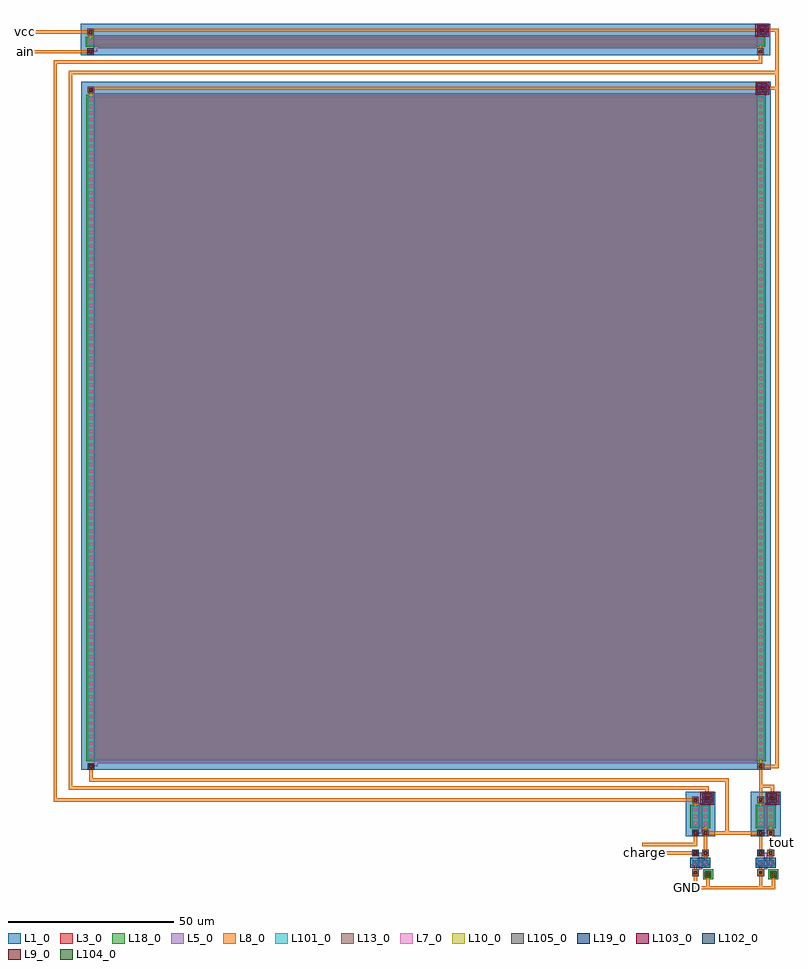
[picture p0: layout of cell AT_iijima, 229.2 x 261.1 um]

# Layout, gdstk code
import gdstk
lib = gdstk.Library(unit=1e-6, precision=1e-07)
def R(c, l, rs):  # rectangles x0, y0, x1, y1
    for r in rs: c.add(gdstk.rectangle(r[:2], r[2:], *l))
L1_0 = (1, 0)
L3_0 = (3, 0)
L5_0 = (5, 0)
L7_0 = (7, 0)
L8_0 = (8, 0)
L9_0 = (9, 0)
L10_0 = (10, 0)
L13_0 = (13, 0)
L18_0 = (18, 0)
L19_0 = (19, 0)
L101_0 = (101, 0)
L102_0 = (102, 0)
L103_0 = (103, 0)
L104_0 = (104, 0)
L105_0 = (105, 0)

dcont = lib.new_cell('dcont')
R(dcont, L3_0, [(-1,-1,1,1)])
R(dcont, L7_0, [(-0.5,-0.5,0.5,0.5)])
R(dcont, L8_0, [(-1,-1,1,1)])
R(dcont, L13_0, [(-0.5,-0.5,0.5,0.5)])
R(dcont, L101_0, [(-1,-1,1,1)])

pcont = lib.new_cell('pcont')
R(pcont, L5_0, [(-1,-1,1,1)])
R(pcont, L7_0, [(-0.5,-0.5,0.5,0.5)])
R(pcont, L8_0, [(-1,-1,1,1)])
R(pcont, L13_0, [(-0.5,-0.5,0.5,0.5)])
R(pcont, L102_0, [(-1,-1,1,1)])

via = lib.new_cell('Via')
R(via, L8_0, [(-1,-1,1,1)])
R(via, L9_0, [(-0.5,-0.5,0.5,0.5)])
R(via, L10_0, [(-1,-1,1,1)])
R(via, L13_0, [(-0.5,-0.5,0.5,0.5)])
R(via, L105_0, [(-1,-1,1,1)])

dcont1 = lib.new_cell('dcont1')
R(dcont1, L3_0, [(-1,-1,1,1)])
R(dcont1, L7_0, [(-0.5,-0.5,0.5,0.5)])
R(dcont1, L8_0, [(-1,-1,1,1)])
R(dcont1, L13_0, [(-0.5,-0.5,0.5,0.5)])
R(dcont1, L101_0, [(-1,-1,1,1)])

nsubcont = lib.new_cell('nsubcont')
R(nsubcont, L1_0, [(-2,-2,2,2)])
R(nsubcont, L19_0, [(-1.5,-1.5,1.5,1.5)])
R(nsubcont, L103_0, [(-2,-2,2,2)])
nsubcont.add(gdstk.Reference(dcont1, (0,0)))

pch = lib.new_cell('Pch')
R(pch, L1_0, [(-2,0,7,13.5)])
R(pch, L3_0, [(0,3,5,9)])
R(pch, L18_0, [(-0.5,2.5,5.5,9.5)])
pch.add(gdstk.FlexPath([(1,3),(1,9)], 2, ends="flush", simple_path=True, layer=8, datatype=0))  # L8_0
pch.add(gdstk.FlexPath([(4,3),(4,9)], 2, ends="flush", simple_path=True, layer=8, datatype=0))  # L8_0
pch.add(gdstk.FlexPath([(1,8),(1,11)], 1, ends="flush", simple_path=True, layer=8, datatype=0))  # L8_0
pch.add(gdstk.FlexPath([(4,1),(4,4)], 1, ends="flush", simple_path=True, layer=8, datatype=0))  # L8_0
pch.add(gdstk.FlexPath([(2.5,3),(2.5,9)], 1, ends=(1, 1), simple_path=True, layer=5, datatype=0))  # L5_0
pch.add(gdstk.FlexPath([(1,1.5),(2.5,1.5),(2.5,2)], 1, ends="flush", simple_path=True, layer=5, datatype=0))  # L5_0
pch.add(gdstk.Reference(dcont, (1,4)))
pch.add(gdstk.Reference(dcont, (1,6)))
pch.add(gdstk.Reference(dcont, (1,8)))
pch.add(gdstk.Reference(dcont, (4,4)))
pch.add(gdstk.Reference(dcont, (4,6)))
pch.add(gdstk.Reference(dcont, (4,8)))
pch.add(gdstk.Reference(pcont, (1,1)))
pch.add(gdstk.Reference(via, (1,1)))
pch.add(gdstk.Reference(via, (1,11)))
pch.add(gdstk.Reference(via, (4,1)))
pch.add(gdstk.Reference(nsubcont, (4.5,11.5)))
pch.add(gdstk.Reference(via, (4.5,11.5)))

psubcont = lib.new_cell('psubcont')
R(psubcont, L18_0, [(-1.5,-1.5,1.5,1.5)])
R(psubcont, L104_0, [(-1,-1,1,1)])
psubcont.add(gdstk.Reference(dcont1, (0,0)))

nch = lib.new_cell('Nch')
R(nch, L3_0, [(0,3,5,5)])
R(nch, L19_0, [(-0.5,2.5,5.5,5.5)])
nch.add(gdstk.FlexPath([(1,3),(1,5)], 2, ends="flush", simple_path=True, layer=8, datatype=0))  # L8_0
nch.add(gdstk.FlexPath([(4,3),(4,5)], 2, ends="flush", simple_path=True, layer=8, datatype=0))  # L8_0
nch.add(gdstk.FlexPath([(1,1),(1,4)], 1, ends="flush", simple_path=True, layer=8, datatype=0))  # L8_0
nch.add(gdstk.FlexPath([(4,4),(4,7)], 1, ends="flush", simple_path=True, layer=8, datatype=0))  # L8_0
nch.add(gdstk.FlexPath([(2.5,3),(2.5,5)], 1, ends=(1, 1), simple_path=True, layer=5, datatype=0))  # L5_0
nch.add(gdstk.FlexPath([(1,6.5),(2.5,6.5),(2.5,6)], 1, ends="flush", simple_path=True, layer=5, datatype=0))  # L5_0
nch.add(gdstk.Reference(dcont, (1,4)))
nch.add(gdstk.Reference(dcont, (4,4)))
nch.add(gdstk.Reference(pcont, (1,7)))
nch.add(gdstk.Reference(via, (1,7)))
nch.add(gdstk.Reference(via, (1,1)))
nch.add(gdstk.Reference(via, (4,7)))
nch.add(gdstk.Reference(psubcont, (4.8,0.5)))
nch.add(gdstk.Reference(via, (4.8,0.5)))

pch_2 = lib.new_cell('Pch$2')
R(pch_2, L1_0, [(-2,0,206,9.5)])
R(pch_2, L3_0, [(0,3,204,5)])
R(pch_2, L18_0, [(-0.5,2.5,204.5,5.5)])
pch_2.add(gdstk.FlexPath([(1,3),(1,5)], 2, ends="flush", simple_path=True, layer=8, datatype=0))  # L8_0
pch_2.add(gdstk.FlexPath([(203,3),(203,5)], 2, ends="flush", simple_path=True, layer=8, datatype=0))  # L8_0
pch_2.add(gdstk.FlexPath([(1,4),(1,7)], 1, ends="flush", simple_path=True, layer=8, datatype=0))  # L8_0
pch_2.add(gdstk.FlexPath([(203,1),(203,4)], 1, ends="flush", simple_path=True, layer=8, datatype=0))  # L8_0
pch_2.add(gdstk.FlexPath([(102,3),(102,5)], 200, ends=(1, 1), simple_path=True, layer=5, datatype=0))  # L5_0
pch_2.add(gdstk.FlexPath([(1,1.5),(2.5,1.5),(2.5,2)], 1, ends="flush", simple_path=True, layer=5, datatype=0))  # L5_0
pch_2.add(gdstk.Reference(dcont, (1,4)))
pch_2.add(gdstk.Reference(dcont, (203,4)))
pch_2.add(gdstk.Reference(pcont, (1,1)))
pch_2.add(gdstk.Reference(via, (1,1)))
pch_2.add(gdstk.Reference(via, (1,7)))
pch_2.add(gdstk.Reference(via, (203,1)))
pch_2.add(gdstk.Reference(nsubcont, (203.5,7.5)))
pch_2.add(gdstk.Reference(via, (203.5,7.5)))

pch_4 = lib.new_cell('Pch$4')
R(pch_4, L1_0, [(-2,0,206,207.5)])
R(pch_4, L3_0, [(0,3,204,203)])
R(pch_4, L18_0, [(-0.5,2.5,204.5,203.5)])
pch_4.add(gdstk.FlexPath([(1,3),(1,203)], 2, ends="flush", simple_path=True, layer=8, datatype=0))  # L8_0
pch_4.add(gdstk.FlexPath([(203,3),(203,203)], 2, ends="flush", simple_path=True, layer=8, datatype=0))  # L8_0
pch_4.add(gdstk.FlexPath([(1,202),(1,205)], 1, ends="flush", simple_path=True, layer=8, datatype=0))  # L8_0
pch_4.add(gdstk.FlexPath([(203,1),(203,4)], 1, ends="flush", simple_path=True, layer=8, datatype=0))  # L8_0
pch_4.add(gdstk.FlexPath([(102,3),(102,203)], 200, ends=(1, 1), simple_path=True, layer=5, datatype=0))  # L5_0
pch_4.add(gdstk.FlexPath([(1,1.5),(2.5,1.5),(2.5,2)], 1, ends="flush", simple_path=True, layer=5, datatype=0))  # L5_0
pch_4.add(gdstk.Reference(dcont, (1,104)))
pch_4.add(gdstk.Reference(dcont, (203,104)))
pch_4.add(gdstk.Reference(dcont, (203,106)))
pch_4.add(gdstk.Reference(dcont, (203,108)))
pch_4.add(gdstk.Reference(dcont, (203,110)))
pch_4.add(gdstk.Reference(dcont, (203,112)))
pch_4.add(gdstk.Reference(dcont, (203,114)))
pch_4.add(gdstk.Reference(dcont, (203,116)))
pch_4.add(gdstk.Reference(dcont, (203,118)))
pch_4.add(gdstk.Reference(dcont, (203,120)))
pch_4.add(gdstk.Reference(dcont, (203,122)))
pch_4.add(gdstk.Reference(dcont, (203,124)))
pch_4.add(gdstk.Reference(dcont, (203,126)))
pch_4.add(gdstk.Reference(dcont, (203,128)))
pch_4.add(gdstk.Reference(dcont, (203,130)))
pch_4.add(gdstk.Reference(dcont, (203,132)))
pch_4.add(gdstk.Reference(dcont, (203,134)))
pch_4.add(gdstk.Reference(dcont, (203,136)))
pch_4.add(gdstk.Reference(dcont, (203,138)))
pch_4.add(gdstk.Reference(dcont, (203,140)))
pch_4.add(gdstk.Reference(dcont, (203,142)))
pch_4.add(gdstk.Reference(dcont, (203,144)))
pch_4.add(gdstk.Reference(dcont, (203,146)))
pch_4.add(gdstk.Reference(dcont, (203,148)))
pch_4.add(gdstk.Reference(dcont, (203,150)))
pch_4.add(gdstk.Reference(dcont, (203,152)))
pch_4.add(gdstk.Reference(dcont, (203,154)))
pch_4.add(gdstk.Reference(dcont, (203,156)))
pch_4.add(gdstk.Reference(dcont, (203,158)))
pch_4.add(gdstk.Reference(dcont, (203,160)))
pch_4.add(gdstk.Reference(dcont, (203,162)))
pch_4.add(gdstk.Reference(dcont, (203,164)))
pch_4.add(gdstk.Reference(dcont, (203,166)))
pch_4.add(gdstk.Reference(dcont, (203,168)))
pch_4.add(gdstk.Reference(dcont, (203,170)))
pch_4.add(gdstk.Reference(dcont, (203,172)))
pch_4.add(gdstk.Reference(dcont, (203,174)))
pch_4.add(gdstk.Reference(dcont, (203,176)))
pch_4.add(gdstk.Reference(dcont, (203,178)))
pch_4.add(gdstk.Reference(dcont, (203,180)))
pch_4.add(gdstk.Reference(dcont, (203,182)))
pch_4.add(gdstk.Reference(dcont, (203,184)))
pch_4.add(gdstk.Reference(dcont, (203,186)))
pch_4.add(gdstk.Reference(dcont, (203,188)))
pch_4.add(gdstk.Reference(dcont, (203,190)))
pch_4.add(gdstk.Reference(dcont, (203,192)))
pch_4.add(gdstk.Reference(dcont, (203,194)))
pch_4.add(gdstk.Reference(dcont, (203,196)))
pch_4.add(gdstk.Reference(dcont, (203,198)))
pch_4.add(gdstk.Reference(dcont, (203,200)))
pch_4.add(gdstk.Reference(dcont, (203,202)))
pch_4.add(gdstk.Reference(nsubcont, (203.5,205.5)))
pch_4.add(gdstk.Reference(via, (203.5,205.5)))
pch_4.add(gdstk.Reference(dcont, (1,112)))
pch_4.add(gdstk.Reference(dcont, (1,114)))
pch_4.add(gdstk.Reference(dcont, (1,116)))
pch_4.add(gdstk.Reference(dcont, (1,118)))
pch_4.add(gdstk.Reference(dcont, (1,120)))
pch_4.add(gdstk.Reference(dcont, (1,122)))
pch_4.add(gdstk.Reference(dcont, (1,124)))
pch_4.add(gdstk.Reference(dcont, (1,126)))
pch_4.add(gdstk.Reference(dcont, (1,128)))
pch_4.add(gdstk.Reference(dcont, (1,130)))
pch_4.add(gdstk.Reference(dcont, (1,132)))
pch_4.add(gdstk.Reference(dcont, (1,134)))
pch_4.add(gdstk.Reference(dcont, (1,136)))
pch_4.add(gdstk.Reference(dcont, (1,138)))
pch_4.add(gdstk.Reference(dcont, (1,140)))
pch_4.add(gdstk.Reference(dcont, (1,142)))
pch_4.add(gdstk.Reference(dcont, (1,144)))
pch_4.add(gdstk.Reference(dcont, (1,146)))
pch_4.add(gdstk.Reference(dcont, (1,148)))
pch_4.add(gdstk.Reference(dcont, (1,150)))
pch_4.add(gdstk.Reference(dcont, (1,152)))
pch_4.add(gdstk.Reference(dcont, (1,154)))
pch_4.add(gdstk.Reference(dcont, (1,156)))
pch_4.add(gdstk.Reference(dcont, (1,158)))
pch_4.add(gdstk.Reference(dcont, (1,160)))
pch_4.add(gdstk.Reference(dcont, (1,162)))
pch_4.add(gdstk.Reference(dcont, (1,164)))
pch_4.add(gdstk.Reference(dcont, (1,166)))
pch_4.add(gdstk.Reference(dcont, (1,168)))
pch_4.add(gdstk.Reference(dcont, (1,170)))
pch_4.add(gdstk.Reference(dcont, (1,172)))
pch_4.add(gdstk.Reference(dcont, (1,174)))
pch_4.add(gdstk.Reference(dcont, (1,176)))
pch_4.add(gdstk.Reference(dcont, (1,178)))
pch_4.add(gdstk.Reference(dcont, (1,180)))
pch_4.add(gdstk.Reference(dcont, (1,182)))
pch_4.add(gdstk.Reference(dcont, (1,184)))
pch_4.add(gdstk.Reference(dcont, (1,186)))
pch_4.add(gdstk.Reference(dcont, (1,188)))
pch_4.add(gdstk.Reference(dcont, (1,190)))
pch_4.add(gdstk.Reference(dcont, (1,192)))
pch_4.add(gdstk.Reference(dcont, (1,194)))
pch_4.add(gdstk.Reference(dcont, (1,196)))
pch_4.add(gdstk.Reference(dcont, (1,198)))
pch_4.add(gdstk.Reference(dcont, (1,200)))
pch_4.add(gdstk.Reference(dcont, (1,202)))
pch_4.add(gdstk.Reference(dcont, (1,106)))
pch_4.add(gdstk.Reference(via, (1,205)))
pch_4.add(gdstk.Reference(dcont, (1,108)))
pch_4.add(gdstk.Reference(dcont, (1,110)))
pch_4.add(gdstk.Reference(dcont, (1,10)))
pch_4.add(gdstk.Reference(dcont, (1,12)))
pch_4.add(gdstk.Reference(dcont, (1,14)))
pch_4.add(gdstk.Reference(dcont, (1,16)))
pch_4.add(gdstk.Reference(dcont, (1,18)))
pch_4.add(gdstk.Reference(dcont, (1,20)))
pch_4.add(gdstk.Reference(dcont, (1,22)))
pch_4.add(gdstk.Reference(dcont, (1,24)))
pch_4.add(gdstk.Reference(dcont, (1,26)))
pch_4.add(gdstk.Reference(dcont, (1,28)))
pch_4.add(gdstk.Reference(dcont, (1,30)))
pch_4.add(gdstk.Reference(dcont, (1,32)))
pch_4.add(gdstk.Reference(dcont, (1,34)))
pch_4.add(gdstk.Reference(dcont, (1,36)))
pch_4.add(gdstk.Reference(dcont, (1,38)))
pch_4.add(gdstk.Reference(dcont, (1,40)))
pch_4.add(gdstk.Reference(dcont, (1,42)))
pch_4.add(gdstk.Reference(dcont, (1,44)))
pch_4.add(gdstk.Reference(dcont, (1,46)))
pch_4.add(gdstk.Reference(dcont, (1,48)))
pch_4.add(gdstk.Reference(dcont, (1,50)))
pch_4.add(gdstk.Reference(dcont, (1,52)))
pch_4.add(gdstk.Reference(dcont, (1,54)))
pch_4.add(gdstk.Reference(dcont, (1,56)))
pch_4.add(gdstk.Reference(dcont, (1,58)))
pch_4.add(gdstk.Reference(dcont, (1,60)))
pch_4.add(gdstk.Reference(dcont, (1,62)))
pch_4.add(gdstk.Reference(dcont, (1,64)))
pch_4.add(gdstk.Reference(dcont, (1,66)))
pch_4.add(gdstk.Reference(dcont, (1,68)))
pch_4.add(gdstk.Reference(dcont, (1,70)))
pch_4.add(gdstk.Reference(dcont, (1,72)))
pch_4.add(gdstk.Reference(dcont, (1,74)))
pch_4.add(gdstk.Reference(dcont, (1,76)))
pch_4.add(gdstk.Reference(dcont, (1,78)))
pch_4.add(gdstk.Reference(dcont, (1,80)))
pch_4.add(gdstk.Reference(dcont, (1,82)))
pch_4.add(gdstk.Reference(dcont, (1,84)))
pch_4.add(gdstk.Reference(dcont, (1,86)))
pch_4.add(gdstk.Reference(dcont, (1,88)))
pch_4.add(gdstk.Reference(dcont, (1,90)))
pch_4.add(gdstk.Reference(dcont, (1,92)))
pch_4.add(gdstk.Reference(dcont, (1,94)))
pch_4.add(gdstk.Reference(dcont, (1,96)))
pch_4.add(gdstk.Reference(dcont, (1,98)))
pch_4.add(gdstk.Reference(dcont, (1,100)))
pch_4.add(gdstk.Reference(dcont, (1,102)))
pch_4.add(gdstk.Reference(pcont, (1,1)))
pch_4.add(gdstk.Reference(via, (1,1)))
pch_4.add(gdstk.Reference(dcont, (1,4)))
pch_4.add(gdstk.Reference(dcont, (1,6)))
pch_4.add(gdstk.Reference(dcont, (1,8)))
pch_4.add(gdstk.Reference(dcont, (203,14)))
pch_4.add(gdstk.Reference(dcont, (203,16)))
pch_4.add(gdstk.Reference(dcont, (203,18)))
pch_4.add(gdstk.Reference(dcont, (203,20)))
pch_4.add(gdstk.Reference(dcont, (203,22)))
pch_4.add(gdstk.Reference(dcont, (203,24)))
pch_4.add(gdstk.Reference(dcont, (203,26)))
pch_4.add(gdstk.Reference(dcont, (203,28)))
pch_4.add(gdstk.Reference(dcont, (203,30)))
pch_4.add(gdstk.Reference(dcont, (203,32)))
pch_4.add(gdstk.Reference(dcont, (203,34)))
pch_4.add(gdstk.Reference(dcont, (203,36)))
pch_4.add(gdstk.Reference(dcont, (203,38)))
pch_4.add(gdstk.Reference(dcont, (203,40)))
pch_4.add(gdstk.Reference(dcont, (203,42)))
pch_4.add(gdstk.Reference(dcont, (203,44)))
pch_4.add(gdstk.Reference(dcont, (203,46)))
pch_4.add(gdstk.Reference(dcont, (203,48)))
pch_4.add(gdstk.Reference(dcont, (203,50)))
pch_4.add(gdstk.Reference(dcont, (203,52)))
pch_4.add(gdstk.Reference(dcont, (203,54)))
pch_4.add(gdstk.Reference(dcont, (203,56)))
pch_4.add(gdstk.Reference(dcont, (203,58)))
pch_4.add(gdstk.Reference(dcont, (203,60)))
pch_4.add(gdstk.Reference(dcont, (203,62)))
pch_4.add(gdstk.Reference(dcont, (203,64)))
pch_4.add(gdstk.Reference(dcont, (203,66)))
pch_4.add(gdstk.Reference(dcont, (203,68)))
pch_4.add(gdstk.Reference(dcont, (203,70)))
pch_4.add(gdstk.Reference(dcont, (203,72)))
pch_4.add(gdstk.Reference(dcont, (203,74)))
pch_4.add(gdstk.Reference(dcont, (203,76)))
pch_4.add(gdstk.Reference(dcont, (203,78)))
pch_4.add(gdstk.Reference(dcont, (203,80)))
pch_4.add(gdstk.Reference(dcont, (203,82)))
pch_4.add(gdstk.Reference(dcont, (203,84)))
pch_4.add(gdstk.Reference(dcont, (203,86)))
pch_4.add(gdstk.Reference(dcont, (203,88)))
pch_4.add(gdstk.Reference(dcont, (203,90)))
pch_4.add(gdstk.Reference(dcont, (203,92)))
pch_4.add(gdstk.Reference(dcont, (203,94)))
pch_4.add(gdstk.Reference(dcont, (203,96)))
pch_4.add(gdstk.Reference(dcont, (203,98)))
pch_4.add(gdstk.Reference(dcont, (203,100)))
pch_4.add(gdstk.Reference(dcont, (203,102)))
pch_4.add(gdstk.Reference(dcont, (203,4)))
pch_4.add(gdstk.Reference(dcont, (203,6)))
pch_4.add(gdstk.Reference(dcont, (203,8)))
pch_4.add(gdstk.Reference(via, (203,1)))
pch_4.add(gdstk.Reference(dcont, (203,10)))
pch_4.add(gdstk.Reference(dcont, (203,12)))

at_iijima = lib.new_cell('AT_iijima')
at_iijima.add(gdstk.FlexPath([(197,267.5),(-6,267.5),(-6,266.5)], 1, ends="flush", simple_path=True, layer=8, datatype=0))  # L8_0
at_iijima.add(gdstk.FlexPath([(-5.5,261),(-26.1,261)], 1, ends="flush", simple_path=True, layer=8, datatype=0))  # L8_0
at_iijima.add(gdstk.FlexPath([(196.1,8.9),(173,8.9)], 1, ends="flush", simple_path=True, layer=8, datatype=0))  # L8_0
at_iijima.add(gdstk.FlexPath([(198.6,22.4),(203.1,22.4)], 1, ends="flush", simple_path=True, layer=8, datatype=0))  # L8_0
at_iijima.add(gdstk.FlexPath([(196.1,34.9),(196.1,46)], 1, ends="flush", simple_path=True, layer=8, datatype=0))  # L8_0
at_iijima.add(gdstk.FlexPath([(-5.9,45.9),(-5.9,41.4),(185.9,41.4),(185.9,25.4),(178.9,25.4)], 1, ends="flush", simple_path=True, layer=8, datatype=0))  # L8_0
at_iijima.add(gdstk.FlexPath([(196.6,25.4),(185.4,25.4)], 1, ends="flush", simple_path=True, layer=8, datatype=0))  # L8_0
at_iijima.add(gdstk.FlexPath([(201.5,254.8),(-12.1,254.8),(-12.1,39),(179.9,39),(179.9,35.4)], 1, ends="flush", simple_path=True, layer=8, datatype=0))  # L8_0
at_iijima.add(gdstk.FlexPath([(176.9,35.4),(-17.2,35.4)], 1, ends="flush", simple_path=True, layer=8, datatype=0))  # L8_0
at_iijima.add(gdstk.FlexPath([(199.1,18.9),(199.1,25.9)], 1, ends="flush", simple_path=True, layer=8, datatype=0))  # L8_0
at_iijima.add(gdstk.FlexPath([(199.9,13.4),(199.9,8.9),(195.6,8.9)], 1, ends="flush", simple_path=True, layer=8, datatype=0))  # L8_0
at_iijima.add(gdstk.FlexPath([(196.1,25.9),(196.1,18.9)], 1, ends="flush", simple_path=True, layer=8, datatype=0))  # L8_0
at_iijima.add(gdstk.FlexPath([(196.1,13.9),(196.1,8.4)], 1, ends="flush", simple_path=True, layer=8, datatype=0))  # L8_0
at_iijima.add(gdstk.FlexPath([(-16.7,34.9),(-16.7,257.9),(196,257.9),(196,261.5),(196,261.5)], 1, ends="flush", simple_path=True, layer=8, datatype=0))  # L8_0
at_iijima.add(gdstk.FlexPath([(179.4,18.9),(179.4,25.9),(179.3,25.9),(179.3,25.9)], 1, ends="flush", simple_path=True, layer=8, datatype=0))  # L8_0
at_iijima.add(gdstk.FlexPath([(176.9,19.4),(160.4,19.4)], 1, ends="flush", simple_path=True, layer=8, datatype=0))  # L8_0
at_iijima.add(gdstk.FlexPath([(176.4,25.9),(176.4,21.9),(160.4,21.9)], 1, ends="flush", simple_path=True, layer=8, datatype=0))  # L8_0
at_iijima.add(gdstk.FlexPath([(176.4,13.9),(176.4,8.4)], 1, ends="flush", simple_path=True, layer=8, datatype=0))  # L8_0
at_iijima.add(gdstk.FlexPath([(180.2,13.4),(180.2,8.4)], 1, ends="flush", simple_path=True, layer=8, datatype=0))  # L8_0
at_iijima.add(gdstk.FlexPath([(-5.5,267),(-26,267)], 1, ends="flush", simple_path=True, layer=8, datatype=0))  # L8_0
at_iijima.add(gdstk.FlexPath([(-5.9,249),(-5.9,250),(197.1,250)], 1, ends="flush", simple_path=True, layer=8, datatype=0))  # L8_0
at_iijima.add(gdstk.FlexPath([(195.6,45.5),(201,45.5),(201,267.5),(196,267.5)], 1, ends="flush", simple_path=True, layer=8, datatype=0))  # L8_0
at_iijima.add(gdstk.FlexPath([(196.1,250),(201.5,250)], 1, ends="flush", simple_path=True, layer=8, datatype=0))  # L8_0
at_iijima.add(gdstk.FlexPath([(199.6,35.4),(199.6,39.5),(195.6,39.5)], 1, ends="flush", simple_path=True, layer=8, datatype=0))  # L8_0
at_iijima.add(gdstk.Reference(pch, (175.4,24.4)))
at_iijima.add(gdstk.Reference(pch, (195.1,24.4)))
at_iijima.add(gdstk.Reference(nch, (195.1,12.4)))
at_iijima.add(gdstk.Reference(nch, (175.4,12.4)))
at_iijima.add(gdstk.Reference(pch_2, (-7,260)))
at_iijima.add(gdstk.Reference(pch_4, (-6.9,44.5)))
at_iijima.add(gdstk.Label('vcc', (-25.5,267), layer=8, texttype=0))
at_iijima.add(gdstk.Label('ain', (-25.5,261), layer=8, texttype=0))
at_iijima.add(gdstk.Label('tout', (202.6,22.4), layer=8, texttype=0))
at_iijima.add(gdstk.Label('GND', (173.9,8.9), layer=8, texttype=0))
at_iijima.add(gdstk.Label('charge', (160.9,19.4), layer=8, texttype=0))
at_iijima.add(gdstk.Label('start', (160.9,21.9), layer=8, texttype=0))

lib.write_gds('AT_iijima.gds')
